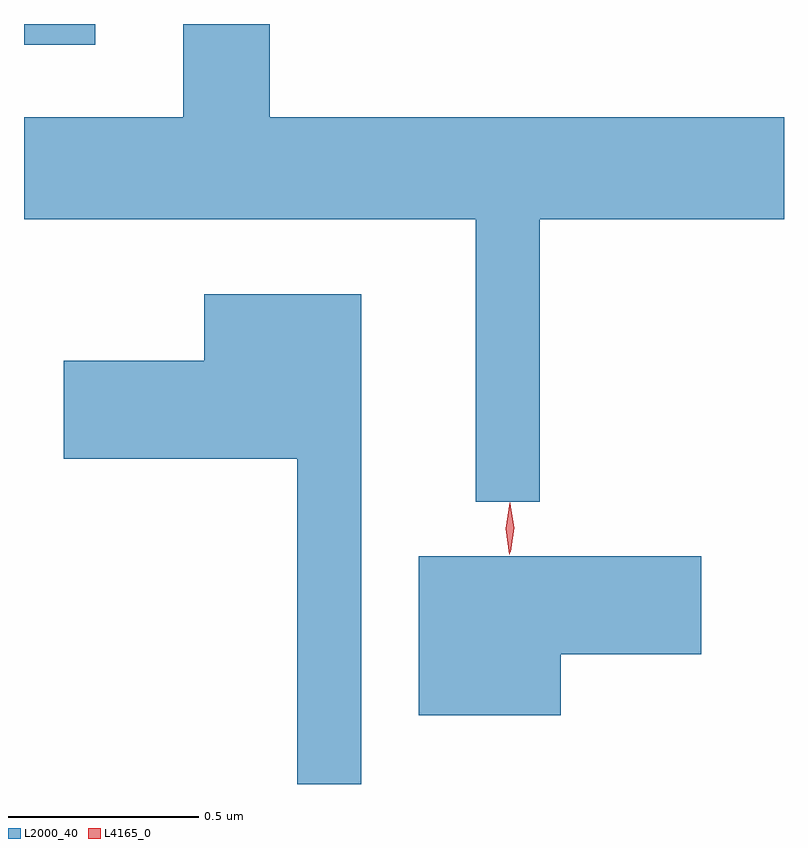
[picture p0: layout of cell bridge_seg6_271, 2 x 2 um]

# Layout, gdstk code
import gdstk
lib = gdstk.Library(unit=1e-6, precision=1e-09)
def R(c, l, rs):  # rectangles x0, y0, x1, y1
    for r in rs: c.add(gdstk.rectangle(r[:2], r[2:], *l))
def P(c, l, *ps):  # polygons
    for p in ps: c.add(gdstk.Polygon(p, *l))
L2000_40 = (2000, 40)
L4165_0 = (4165, 0)

bridge_seg6_271 = lib.new_cell('bridge_seg6_271')
R(bridge_seg6_271, L2000_40, [(1259.702,1572.696,1259.889,1572.75)])
P(bridge_seg6_271, L2000_40, [(1261.059,1572.236),(1261.702,1572.236),(1261.702,1572.504),(1260.349,1572.504),(1260.349,1572.75),(1260.121,1572.75),(1260.121,1572.504),(1259.702,1572.504),(1259.702,1572.236),(1260.891,1572.236),(1260.891,1571.493),(1261.059,1571.493)],
  [(1260.589,1572.039),(1260.176,1572.039),(1260.176,1571.864),(1259.806,1571.864),(1259.806,1571.606),(1260.421,1571.606),(1260.421,1570.75),(1260.589,1570.75)],
  [(1261.114,1571.091),(1261.484,1571.091),(1261.484,1571.349),(1260.741,1571.349),(1260.741,1570.931),(1261.114,1570.931)])
P(bridge_seg6_271, L4165_0, [(1260.979,1571.354),(1260.979,1571.354),(1260.97,1571.422),(1260.98,1571.49),(1260.981,1571.49),(1260.981,1571.49),(1260.99,1571.422),(1260.98,1571.354)],
  [(1260.982,1571.36),(1260.982,1571.361),(1260.972,1571.424),(1260.98,1571.486),(1260.981,1571.487),(1260.982,1571.486),(1260.992,1571.424),(1260.983,1571.361)])

lib.write_gds('bridge_seg6_271.gds')
